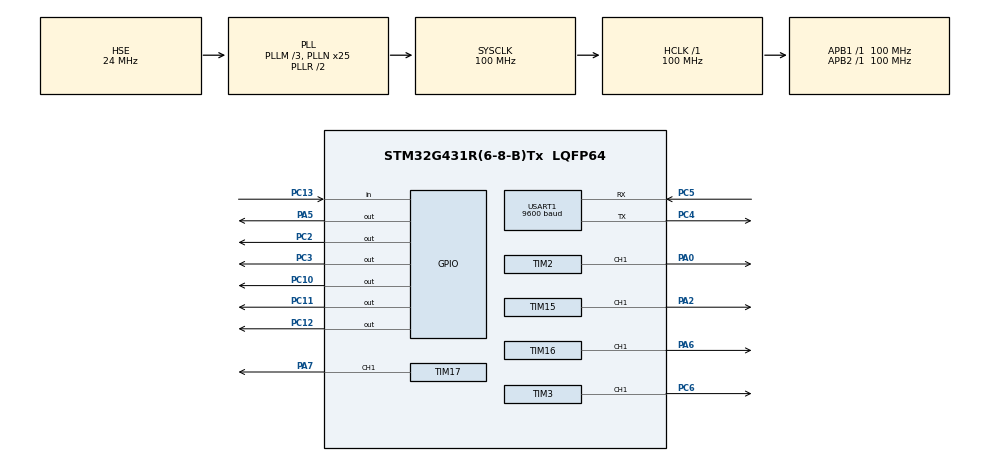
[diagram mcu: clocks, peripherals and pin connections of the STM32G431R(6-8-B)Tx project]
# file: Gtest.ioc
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Mcu.Family=STM32G4
Mcu.Name=STM32G431R(6-8-B)Tx
Mcu.Package=LQFP64
NVIC.PriorityGroup=NVIC_PRIORITYGROUP_4
NVIC.USART1_IRQn=true\:0\:0\:false\:false\:true\:true\:true\:true
PA0.Signal=S_TIM2_CH1
PA13.Mode=Serial_Wire
PA13.Signal=SYS_JTMS-SWDIO
PA14.Mode=Serial_Wire
PA14.Signal=SYS_JTCK-SWCLK
PA2.Signal=S_TIM15_CH1
PA5.Signal=GPIO_Output
PA6.Signal=S_TIM16_CH1
PA7.Signal=S_TIM17_CH1
PC10.Signal=GPIO_Output
PC11.Signal=GPIO_Output
PC12.Signal=GPIO_Output
PC13.Signal=GPIO_Input
PC2.Signal=GPIO_Output
PC3.Signal=GPIO_Output
PC4.Mode=Asynchronous
PC4.Signal=USART1_TX
PC5.Mode=Asynchronous
PC5.Signal=USART1_RX
PC6.Signal=S_TIM3_CH1
PF0-OSC_IN.Mode=HSE-External-Oscillator
PF0-OSC_IN.Signal=RCC_OSC_IN
PF1-OSC_OUT.Mode=HSE-External-Oscillator
PF1-OSC_OUT.Signal=RCC_OSC_OUT
ProjectManager.HeapSize=0x200
ProjectManager.StackSize=0x400
ProjectManager.TargetToolchain=STM32CubeIDE
RCC.ADC12Freq_Value=100000000
RCC.AHBFreq_Value=100000000
RCC.APB1Freq_Value=100000000
RCC.APB1TimFreq_Value=100000000
RCC.APB2Freq_Value=100000000
RCC.APB2TimFreq_Value=100000000
RCC.CortexFreq_Value=100000000
RCC.EXTERNAL_CLOCK_VALUE=12288000
RCC.HCLKFreq_Value=100000000
RCC.HSE_VALUE=24000000
RCC.HSI48_VALUE=48000000
RCC.HSI_VALUE=16000000
RCC.LSE_VALUE=32768
RCC.PLLM=RCC_PLLM_DIV3
RCC.PLLN=25
RCC.PLLSourceVirtual=RCC_PLLSOURCE_HSE
RCC.SYSCLKFreq_VALUE=100000000
RCC.SYSCLKSource=RCC_SYSCLKSOURCE_PLLCLK
RCC.USBFreq_Value=100000000
RCC.VCOOutputFreq_Value=200000000
SH.S_TIM15_CH1.0=TIM15_CH1,PWM Generation1 CH1
SH.S_TIM16_CH1.0=TIM16_CH1,PWM Generation1 CH1
SH.S_TIM17_CH1.0=TIM17_CH1,PWM Generation1 CH1
SH.S_TIM2_CH1.0=TIM2_CH1,PWM Generation1 CH1
SH.S_TIM3_CH1.0=TIM3_CH1,PWM Generation1 CH1
TIM15.Channel-PWM\ Generation1\ CH1=TIM_CHANNEL_1
TIM15.Prescaler=99
TIM16.Channel=TIM_CHANNEL_1
TIM16.Prescaler=99
TIM17.Channel=TIM_CHANNEL_1
TIM17.Prescaler=99
TIM2.Channel-PWM\ Generation1\ CH1=TIM_CHANNEL_1
TIM2.PeriodNoDither=65535
TIM2.Prescaler=99
TIM3.Channel-PWM\ Generation1\ CH1=TIM_CHANNEL_1
TIM3.Prescaler=99
USART1.BaudRate=9600
USART1.VirtualMode-Asynchronous=VM_ASYNC
VP_SYS_VS_DBSignals.Mode=DisableDeadBatterySignals
VP_TIM16_VS_ClockSourceINT.Mode=Enable_Timer
VP_TIM17_VS_ClockSourceINT.Mode=Enable_Timer
VP_TIM2_VS_ClockSourceINT.Mode=Internal
VP_TIM3_VS_ClockSourceINT.Mode=Internal
board=custom

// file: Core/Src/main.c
/* USER CODE BEGIN Header */
/**
 ******************************************************************************
 * @file           : main.c
 * @brief          : Main program body
 ******************************************************************************
 * @attention
 *
 * Copyright (c) 2023 STMicroelectronics.
 * All rights reserved.
 *
 * This software is licensed under terms that can be found in the LICENSE file
 * in the root directory of this software component.
 * If no LICENSE file comes with this software, it is provided AS-IS.
 *
 ******************************************************************************
 */
/* USER CODE END Header */
#include "main.h"
#include "tim.h"
#include "usart.h"
#include "gpio.h"

/* USER CODE BEGIN Includes */
#include "Total.h"
#include "loop.h"
#include "MeeTimer.h"
#include "music.h"
#include "key.h"
#include "Init.h"
#include "lcd.h"
/* USER CODE END Includes */

/* USER CODE BEGIN PV */
Total total;
int temp;
int flag_key = 0;
int rxkey = 0;
uint8_t rx_data[1]; // 全局数据声明，包括结构体，暂停用存储器，计时用flag，收到信息转化记录
/* USER CODE END PV */

void SystemClock_Config(void);

int main(void)
{

  /* MCU Configuration--------------------------------------------------------*/

  /* Reset of all peripherals, Initializes the Flash interface and the Systick. */
  HAL_Init();

  /* Configure the system clock */
  SystemClock_Config();

  /* Initialize all configured peripherals */
  MX_GPIO_Init();
  MX_TIM15_Init();
  MX_TIM16_Init();
  MX_TIM17_Init();
  MX_USART1_UART_Init();
  MX_TIM2_Init();
  MX_TIM3_Init();
  /* USER CODE BEGIN 2 */
  Total_Init(&total); // 全局初始化，lcd初始化，开启串口信息中断等待，串口发送已经全部初始化完成
  LCD_init();
  LCD_clear();
  lcd_display();
//  HAL_UART_Transmit(&huart1, start1, 7, 0xffff);
  HAL_UART_Receive_IT(&huart1, rx_data, 1);
  /* USER CODE END 2 */

  /* Infinite loop */
  while (1)
  {

    /* USER CODE BEGIN 3 */
    loop();                                   // 主循环函数
    if (HAL_GPIO_ReadPin(GPIOC, GPIO_PIN_13)) // 用于检测是否进入正常主循环
      HAL_GPIO_WritePin(GPIOA, GPIO_PIN_5, SET);
    else
      HAL_GPIO_WritePin(GPIOA, GPIO_PIN_5, RESET);
  }
  /* USER CODE END 3 */
}

void SystemClock_Config(void)
{
  RCC_OscInitTypeDef RCC_OscInitStruct = {0};
  RCC_ClkInitTypeDef RCC_ClkInitStruct = {0};

  /** Configure the main internal regulator output voltage
   */
  HAL_PWREx_ControlVoltageScaling(PWR_REGULATOR_VOLTAGE_SCALE1);

  /** Initializes the RCC Oscillators according to the specified parameters
   * in the RCC_OscInitTypeDef structure.
   */
  RCC_OscInitStruct.OscillatorType = RCC_OSCILLATORTYPE_HSE;
  RCC_OscInitStruct.HSEState = RCC_HSE_ON;
  RCC_OscInitStruct.PLL.PLLState = RCC_PLL_ON;
  RCC_OscInitStruct.PLL.PLLSource = RCC_PLLSOURCE_HSE;
  RCC_OscInitStruct.PLL.PLLM = RCC_PLLM_DIV3;
  RCC_OscInitStruct.PLL.PLLN = 25;
  RCC_OscInitStruct.PLL.PLLP = RCC_PLLP_DIV2;
  RCC_OscInitStruct.PLL.PLLQ = RCC_PLLQ_DIV2;
  RCC_OscInitStruct.PLL.PLLR = RCC_PLLR_DIV2;
  if (HAL_RCC_OscConfig(&RCC_OscInitStruct) != HAL_OK)
  {
    Error_Handler();
  }

  /** Initializes the CPU, AHB and APB buses clocks
   */
  RCC_ClkInitStruct.ClockType = RCC_CLOCKTYPE_HCLK | RCC_CLOCKTYPE_SYSCLK | RCC_CLOCKTYPE_PCLK1 | RCC_CLOCKTYPE_PCLK2;
  RCC_ClkInitStruct.SYSCLKSource = RCC_SYSCLKSOURCE_PLLCLK;
  RCC_ClkInitStruct.AHBCLKDivider = RCC_SYSCLK_DIV1;
  RCC_ClkInitStruct.APB1CLKDivider = RCC_HCLK_DIV1;
  RCC_ClkInitStruct.APB2CLKDivider = RCC_HCLK_DIV1;

  if (HAL_RCC_ClockConfig(&RCC_ClkInitStruct, FLASH_LATENCY_3) != HAL_OK)
  {
    Error_Handler();
  }
}

/* USER CODE BEGIN 4 */
void HAL_UART_RxCpltCallback(UART_HandleTypeDef *huart) // 中断回调函数，
{
  if (huart == &huart1)
  {
    rxkey = (int)(rx_data[0] - '0');
    total.keyboard.key_p = rxkey;
    key_deal(&total.keyboard);
    lcd_display();
    HAL_UART_Transmit(&huart1, rx_data, 1, 0xffff);
    HAL_UART_Receive_IT(&huart1, rx_data, 1);
  } // 用于将收到的串口信息转化为int信息并传导给决定函数，同时更新lcd，发送串口收到的信息开启等待下一轮串口中断信息
}
/* USER CODE END 4 */

void Error_Handler(void)
{
  __disable_irq();
  while (1)
  {
  }
}
